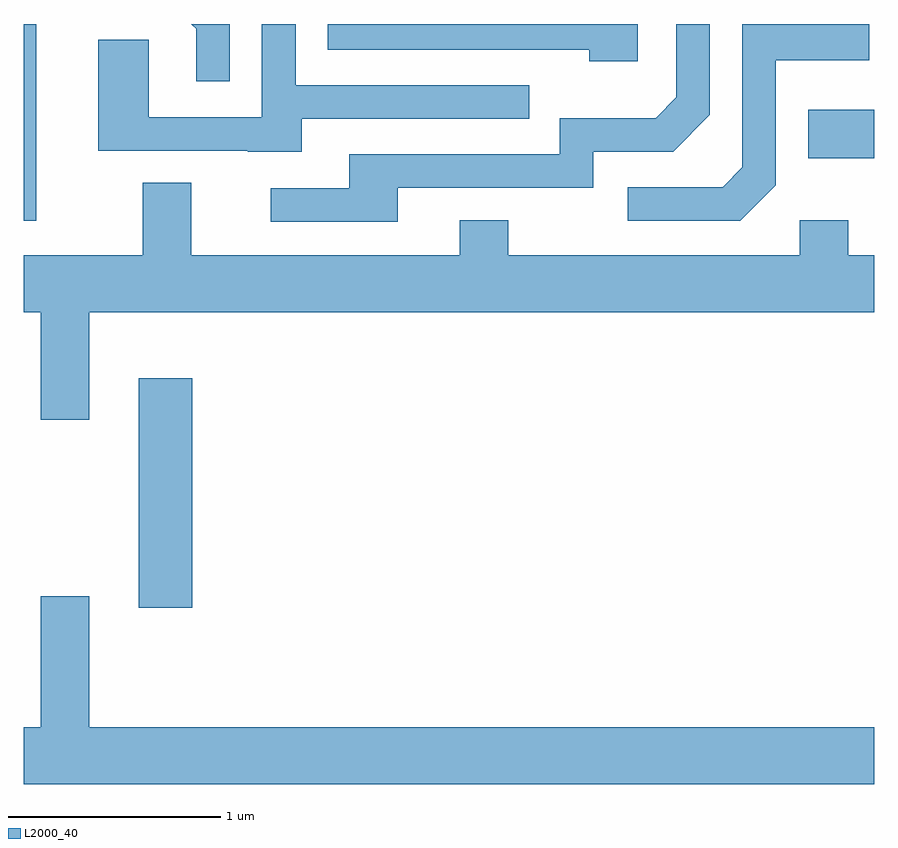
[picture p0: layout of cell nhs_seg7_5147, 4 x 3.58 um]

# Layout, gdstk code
import gdstk
lib = gdstk.Library(unit=1e-6, precision=1e-09)
def R(c, l, rs):  # rectangles x0, y0, x1, y1
    for r in rs: c.add(gdstk.rectangle(r[:2], r[2:], *l))
def P(c, l, *ps):  # polygons
    for p in ps: c.add(gdstk.Polygon(p, *l))
L2000_40 = (2000, 40)

nhs_seg7_5147 = lib.new_cell('nhs_seg7_5147')
R(nhs_seg7_5147, L2000_40, [(342.151,1799.506,342.404,1800.584), (341.611,1801.326,341.669,1802.252), (345.301,1801.621,345.611,1801.849)])
P(nhs_seg7_5147, L2000_40, [(345.149,1801.494),(345.149,1802.081),(345.589,1802.081),(345.589,1802.252),(344.991,1802.252),(344.991,1801.577),(344.899,1801.484),(344.453,1801.484),(344.453,1801.326),(344.982,1801.326)],
  [(343.369,1801.481),(344.289,1801.481),(344.289,1801.651),(344.667,1801.651),(344.839,1801.824),(344.839,1802.252),(344.681,1802.252),(344.681,1801.907),(344.584,1801.809),(344.131,1801.809),(344.131,1801.639),(343.141,1801.639),(343.141,1801.479),(342.773,1801.479),(342.773,1801.321),(343.369,1801.321)],
  [(342.579,1802.252),(342.398,1802.252),(342.421,1802.229),(342.421,1801.983),(342.579,1801.983)],
  [(344.499,1802.252),(343.041,1802.252),(343.041,1802.131),(344.271,1802.131),(344.271,1802.076),(344.499,1802.076)],
  [(342.919,1801.806),(343.988,1801.806),(343.988,1801.964),(342.889,1801.964),(342.889,1802.252),(342.731,1802.252),(342.731,1801.814),(342.199,1801.814),(342.199,1802.179),(341.961,1802.179),(341.961,1801.656),(342.665,1801.656),(342.665,1801.651),(342.919,1801.651)],
  [(341.919,1800.896),(345.611,1800.896),(345.611,1801.164),(345.489,1801.164),(345.489,1801.329),(345.261,1801.329),(345.261,1801.164),(343.889,1801.164),(343.889,1801.329),(343.661,1801.329),(343.661,1801.164),(342.399,1801.164),(342.399,1801.504),(342.171,1801.504),(342.171,1801.164),(341.611,1801.164),(341.611,1800.896),(341.691,1800.896),(341.691,1800.391),(341.919,1800.391)],
  [(345.611,1798.944),(341.919,1798.944),(341.919,1799.559),(341.691,1799.559),(341.691,1798.944),(341.611,1798.944),(341.611,1798.676),(345.611,1798.676)])

lib.write_gds('nhs_seg7_5147.gds')
